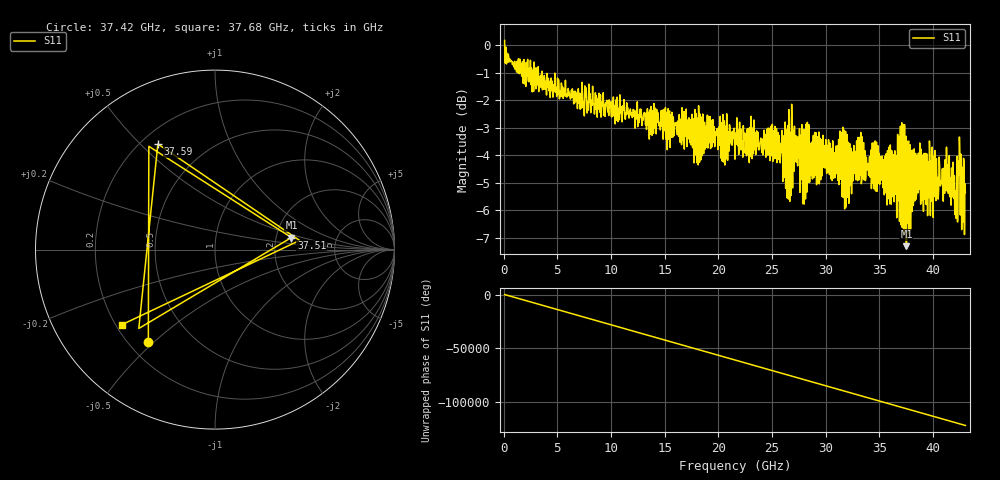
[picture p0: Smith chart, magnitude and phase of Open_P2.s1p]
# Hz S RI R 50.000000
! Metas.Vna.Tools, 2.9.9438.25149
! Metas.Vna.Data, 2.9.9438.25100
! Created: UTC 2026.07.01 05:48:56
! FREQ  re:S2,2  im:S2,2
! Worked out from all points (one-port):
!   1001 points, 100 MHz to 43 GHz, reference 50 ohm
!   lowest |S11| = -7.3 dB at 37.51 GHz (marker M1), VSWR 2.52, Z = 122 + j20.1 ohm
!   |S11| at or under -10 dB: nowhere
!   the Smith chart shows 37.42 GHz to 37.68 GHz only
!   S11 on the Smith chart (normalised r, x): 37.42 GHz: 0.28, -0.48; 37.51 GHz: 2.44, +0.40; 37.59 GHz: 0.26, +0.56; 37.68 GHz: 0.23, -0.34
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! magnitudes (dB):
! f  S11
! 100 MHz  0.2
! 1.516 GHz  -0.5
! 5.463 GHz  -1.8
! 10.82 GHz  -1.8
! 16.19 GHz  -3.3
! 21.55 GHz  -4.1
! 26.91 GHz  -5.2
! 32.27 GHz  -5.1
! 35.24 GHz  -4.0
! 36.35 GHz  -5.7
! 36.82 GHz  -3.3
! 36.87 GHz  -6.4
! 37.08 GHz  -2.8
! 37.12 GHz  -6.6
! 37.25 GHz  -6.9
! 37.42 GHz  -4.0
! 37.51 GHz  -7.3
! 37.59 GHz  -3.5
! 37.64 GHz  -6.5
! 37.68 GHz  -3.6
! 37.89 GHz  -6.7
! 38.5 GHz  -4.0
! 39.74 GHz  -6.2
! 40.85 GHz  -4.5
! 41.28 GHz  -5.1
! 42.1 GHz  -5.3
! 42.4 GHz  -4.7
! 43 GHz  -5.4
